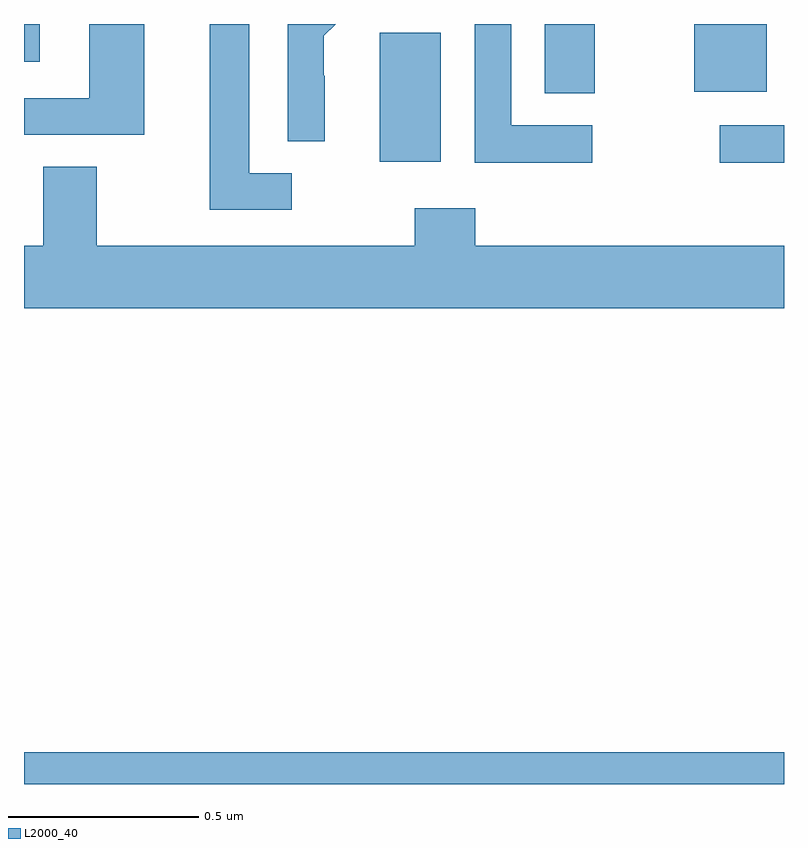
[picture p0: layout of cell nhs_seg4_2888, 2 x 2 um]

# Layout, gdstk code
import gdstk
lib = gdstk.Library(unit=1e-6, precision=1e-09)
def R(c, l, rs):  # rectangles x0, y0, x1, y1
    for r in rs: c.add(gdstk.rectangle(r[:2], r[2:], *l))
def P(c, l, *ps):  # polygons
    for p in ps: c.add(gdstk.Polygon(p, *l))
L2000_40 = (2000, 40)

nhs_seg4_2888 = lib.new_cell('nhs_seg4_2888')
R(nhs_seg4_2888, L2000_40, [(146,796.9,148,796.984), (147.831,798.535,148,798.633), (146.936,798.537,147.097,798.877), (147.371,798.718,147.502,798.9), (147.764,798.722,147.955,798.9), (146,798.801,146.041,798.9)])
P(nhs_seg4_2888, L2000_40, [(146.317,798.9),(146.172,798.9),(146.172,798.705),(146,798.705),(146,798.609),(146.317,798.609)],
  [(146.791,798.764),(146.789,798.764),(146.789,798.869),(146.82,798.9),(146.694,798.9),(146.694,798.592),(146.791,798.592)],
  [(147.496,798.633),(147.282,798.633),(147.282,798.9),(147.186,798.9),(147.186,798.535),(147.496,798.535)],
  [(146.704,798.507),(146.593,798.507),(146.593,798.9),(146.489,798.9),(146.489,798.411),(146.704,798.411)],
  [(148,798.316),(147.188,798.316),(147.188,798.415),(147.028,798.415),(147.028,798.316),(146.191,798.316),(146.191,798.524),(146.051,798.524),(146.051,798.316),(146,798.316),(146,798.152),(148,798.152)])

lib.write_gds('nhs_seg4_2888.gds')
